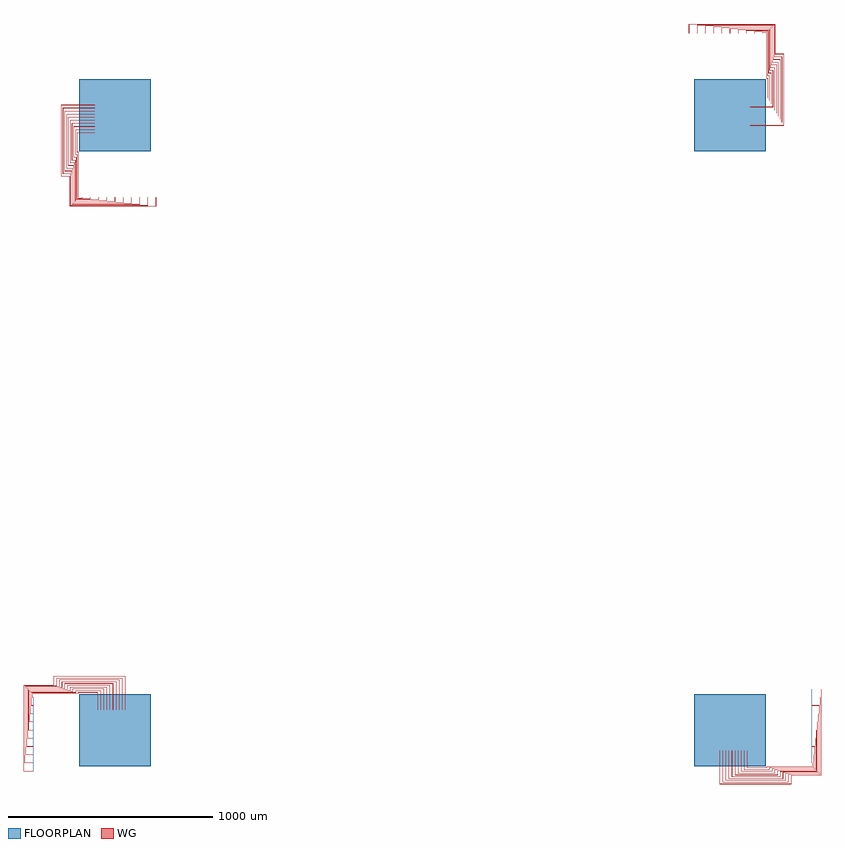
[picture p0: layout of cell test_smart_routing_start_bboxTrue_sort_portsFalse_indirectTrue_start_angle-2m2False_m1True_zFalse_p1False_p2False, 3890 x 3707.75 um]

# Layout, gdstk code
import gdstk
lib = gdstk.Library(unit=1e-6, precision=1e-09)
def R(c, l, rs):  # rectangles x0, y0, x1, y1
    for r in rs: c.add(gdstk.rectangle(r[:2], r[2:], *l))
def P(c, l, *ps):  # polygons
    for p in ps: c.add(gdstk.Polygon(p, *l))
WG = (1, 0)
FLOORPLAN = (10, 0)

test_smart_routing_start = lib.new_cell('test_smart_routing_start_bboxTrue_sort_portsFalse_indirectTrue_start_angle-2m2False_m1True_zFalse_p1False_p2False')
P(test_smart_routing_start, WG, [(-445,-200.25),(-445,220),(-298.75,220),(-298.75,262.75),(50.25,262.75),(50.25,100),(49.75,100),(49.75,262.25),(-298.25,262.25),(-298.25,219.5),(-444.5,219.5),(-444.5,-199.75),(-400,-199.75),(-400,-200.25)],
  [(-440.5,-160.25),(-440.5,215.5),(-285.5,215.5),(-285.5,254),(35.25,254),(35.25,100),(34.75,100),(34.75,253.5),(-285,253.5),(-285,215),(-440,215),(-440,-159.75),(-400,-159.75),(-400,-160.25)],
  [(-436,-120.25),(-436,211),(-272.25,211),(-272.25,245.25),(20.25,245.25),(20.25,100),(19.75,100),(19.75,244.75),(-271.75,244.75),(-271.75,210.5),(-435.5,210.5),(-435.5,-119.75),(-400,-119.75),(-400,-120.25)],
  [(-431.5,-80.25),(-431.5,206.5),(-259,206.5),(-259,236.5),(5.25,236.5),(5.25,100),(4.75,100),(4.75,236),(-258.5,236),(-258.5,206),(-431,206),(-431,-79.75),(-400,-79.75),(-400,-80.25)],
  [(-427,-40.25),(-427,202),(-245.75,202),(-245.75,227.75),(-9.75,227.75),(-9.75,100),(-10.25,100),(-10.25,227.25),(-245.25,227.25),(-245.25,201.5),(-426.5,201.5),(-426.5,-39.75),(-400,-39.75),(-400,-40.25)],
  [(-422.5,-0.25),(-422.5,197.5),(-232.5,197.5),(-232.5,219),(-24.75,219),(-24.75,100),(-25.25,100),(-25.25,218.5),(-232,218.5),(-232,197),(-422,197),(-422,0.25),(-400,0.25),(-400,-0.25)],
  [(-418,39.75),(-418,193),(-219.25,193),(-219.25,210.25),(-39.75,210.25),(-39.75,100),(-40.25,100),(-40.25,209.75),(-218.75,209.75),(-218.75,192.5),(-417.5,192.5),(-417.5,40.25),(-400,40.25),(-400,39.75)],
  [(-413.5,79.75),(-413.5,188.5),(-206,188.5),(-206,201.5),(-54.75,201.5),(-54.75,100),(-55.25,100),(-55.25,201),(-205.5,201),(-205.5,188),(-413,188),(-413,80.25),(-400,80.25),(-400,79.75)],
  [(-70.25,100),(-70.25,192.25),(-192.25,192.25),(-192.25,183.5),(-408.5,183.5),(-408.5,120.25),(-400,120.25),(-400,119.75),(-409,119.75),(-409,184),(-192.75,184),(-192.75,192.75),(-69.75,192.75),(-69.75,100)],
  [(-85.25,100),(-85.25,183.5),(-179,183.5),(-179,179),(-404,179),(-404,160.25),(-400,160.25),(-400,159.75),(-404.5,159.75),(-404.5,179.5),(-179.5,179.5),(-179.5,184),(-84.75,184),(-84.75,100)],
  [(-220,2555),(-220,2701.25),(-262.75,2701.25),(-262.75,3050.25),(-100,3050.25),(-100,3049.75),(-262.25,3049.75),(-262.25,2701.75),(-219.5,2701.75),(-219.5,2555.5),(199.75,2555.5),(199.75,2600),(200.25,2600),(200.25,2555)],
  [(-215.5,2559.5),(-215.5,2714.5),(-254,2714.5),(-254,3035.25),(-100,3035.25),(-100,3034.75),(-253.5,3034.75),(-253.5,2715),(-215,2715),(-215,2560),(159.75,2560),(159.75,2600),(160.25,2600),(160.25,2559.5)],
  [(-211,2564),(-211,2727.75),(-245.25,2727.75),(-245.25,3020.25),(-100,3020.25),(-100,3019.75),(-244.75,3019.75),(-244.75,2728.25),(-210.5,2728.25),(-210.5,2564.5),(119.75,2564.5),(119.75,2600),(120.25,2600),(120.25,2564)],
  [(-206.5,2568.5),(-206.5,2741),(-236.5,2741),(-236.5,3005.25),(-100,3005.25),(-100,3004.75),(-236,3004.75),(-236,2741.5),(-206,2741.5),(-206,2569),(79.75,2569),(79.75,2600),(80.25,2600),(80.25,2568.5)],
  [(-202,2573),(-202,2754.25),(-227.75,2754.25),(-227.75,2990.25),(-100,2990.25),(-100,2989.75),(-227.25,2989.75),(-227.25,2754.75),(-201.5,2754.75),(-201.5,2573.5),(39.75,2573.5),(39.75,2600),(40.25,2600),(40.25,2573)],
  [(-197.5,2577.5),(-197.5,2767.5),(-219,2767.5),(-219,2975.25),(-100,2975.25),(-100,2974.75),(-218.5,2974.75),(-218.5,2768),(-197,2768),(-197,2578),(-0.25,2578),(-0.25,2600),(0.25,2600),(0.25,2577.5)],
  [(-193,2582),(-193,2780.75),(-210.25,2780.75),(-210.25,2960.25),(-100,2960.25),(-100,2959.75),(-209.75,2959.75),(-209.75,2781.25),(-192.5,2781.25),(-192.5,2582.5),(-40.25,2582.5),(-40.25,2600),(-39.75,2600),(-39.75,2582)],
  [(-188.5,2586.5),(-188.5,2794),(-201.5,2794),(-201.5,2945.25),(-100,2945.25),(-100,2944.75),(-201,2944.75),(-201,2794.5),(-188,2794.5),(-188,2587),(-80.25,2587),(-80.25,2600),(-79.75,2600),(-79.75,2586.5)],
  [(-184,2591),(-184,2807.25),(-192.75,2807.25),(-192.75,2930.25),(-100,2930.25),(-100,2929.75),(-192.25,2929.75),(-192.25,2807.75),(-183.5,2807.75),(-183.5,2591.5),(-120.25,2591.5),(-120.25,2600),(-119.75,2600),(-119.75,2591)],
  [(-179.5,2595.5),(-179.5,2820.5),(-184,2820.5),(-184,2915.25),(-100,2915.25),(-100,2914.75),(-183.5,2914.75),(-183.5,2821),(-179,2821),(-179,2596),(-160.25,2596),(-160.25,2600),(-159.75,2600),(-159.75,2595.5)],
  [(2949.75,-262.75),(2949.75,-100),(2950.25,-100),(2950.25,-262.25),(3298.25,-262.25),(3298.25,-219.5),(3444.5,-219.5),(3444.5,199.75),(3400,199.75),(3400,200.25),(3445,200.25),(3445,-220),(3298.75,-220),(3298.75,-262.75)],
  [(2964.75,-254),(2964.75,-100),(2965.25,-100),(2965.25,-253.5),(3285,-253.5),(3285,-215),(3440,-215),(3440,159.75),(3400,159.75),(3400,160.25),(3440.5,160.25),(3440.5,-215.5),(3285.5,-215.5),(3285.5,-254)],
  [(2979.75,-245.25),(2979.75,-100),(2980.25,-100),(2980.25,-244.75),(3271.75,-244.75),(3271.75,-210.5),(3435.5,-210.5),(3435.5,119.75),(3400,119.75),(3400,120.25),(3436,120.25),(3436,-211),(3272.25,-211),(3272.25,-245.25)],
  [(2994.75,-236.5),(2994.75,-100),(2995.25,-100),(2995.25,-236),(3258.5,-236),(3258.5,-206),(3431,-206),(3431,79.75),(3400,79.75),(3400,80.25),(3431.5,80.25),(3431.5,-206.5),(3259,-206.5),(3259,-236.5)],
  [(3009.75,-227.75),(3009.75,-100),(3010.25,-100),(3010.25,-227.25),(3245.25,-227.25),(3245.25,-201.5),(3426.5,-201.5),(3426.5,39.75),(3400,39.75),(3400,40.25),(3427,40.25),(3427,-202),(3245.75,-202),(3245.75,-227.75)],
  [(3024.75,-219),(3024.75,-100),(3025.25,-100),(3025.25,-218.5),(3232,-218.5),(3232,-197),(3422,-197),(3422,-0.25),(3400,-0.25),(3400,0.25),(3422.5,0.25),(3422.5,-197.5),(3232.5,-197.5),(3232.5,-219)],
  [(3039.75,-210.25),(3039.75,-100),(3040.25,-100),(3040.25,-209.75),(3218.75,-209.75),(3218.75,-192.5),(3417.5,-192.5),(3417.5,-40.25),(3400,-40.25),(3400,-39.75),(3418,-39.75),(3418,-193),(3219.25,-193),(3219.25,-210.25)],
  [(3054.75,-201.5),(3054.75,-100),(3055.25,-100),(3055.25,-201),(3205.5,-201),(3205.5,-188),(3413,-188),(3413,-80.25),(3400,-80.25),(3400,-79.75),(3413.5,-79.75),(3413.5,-188.5),(3206,-188.5),(3206,-201.5)],
  [(3069.75,-192.75),(3069.75,-100),(3070.25,-100),(3070.25,-192.25),(3192.25,-192.25),(3192.25,-183.5),(3408.5,-183.5),(3408.5,-120.25),(3400,-120.25),(3400,-119.75),(3409,-119.75),(3409,-184),(3192.75,-184),(3192.75,-192.75)],
  [(3084.75,-184),(3084.75,-100),(3085.25,-100),(3085.25,-183.5),(3179,-183.5),(3179,-179),(3404,-179),(3404,-160.25),(3400,-160.25),(3400,-159.75),(3404.5,-159.75),(3404.5,-179.5),(3179.5,-179.5),(3179.5,-184)],
  [(3100,2949.75),(3100,2950.25),(3262.25,2950.25),(3262.25,3298.25),(3219.5,3298.25),(3219.5,3444.5),(2800.25,3444.5),(2800.25,3400),(2799.75,3400),(2799.75,3445),(3220,3445),(3220,3298.75),(3262.75,3298.75),(3262.75,2949.75)],
  [(3100,2964.75),(3100,2965.25),(3253.5,2965.25),(3253.5,3285),(3215,3285),(3215,3440),(2840.25,3440),(2840.25,3400),(2839.75,3400),(2839.75,3440.5),(3215.5,3440.5),(3215.5,3285.5),(3254,3285.5),(3254,2964.75)],
  [(3100,2979.75),(3100,2980.25),(3244.75,2980.25),(3244.75,3271.75),(3210.5,3271.75),(3210.5,3435.5),(2880.25,3435.5),(2880.25,3400),(2879.75,3400),(2879.75,3436),(3211,3436),(3211,3272.25),(3245.25,3272.25),(3245.25,2979.75)],
  [(3100,2994.75),(3100,2995.25),(3236,2995.25),(3236,3258.5),(3206,3258.5),(3206,3431),(2920.25,3431),(2920.25,3400),(2919.75,3400),(2919.75,3431.5),(3206.5,3431.5),(3206.5,3259),(3236.5,3259),(3236.5,2994.75)],
  [(3100,3009.75),(3100,3010.25),(3227.25,3010.25),(3227.25,3245.25),(3201.5,3245.25),(3201.5,3426.5),(2960.25,3426.5),(2960.25,3400),(2959.75,3400),(2959.75,3427),(3202,3427),(3202,3245.75),(3227.75,3245.75),(3227.75,3009.75)],
  [(3100,3024.75),(3100,3025.25),(3218.5,3025.25),(3218.5,3232),(3197,3232),(3197,3422),(3000.25,3422),(3000.25,3400),(2999.75,3400),(2999.75,3422.5),(3197.5,3422.5),(3197.5,3232.5),(3219,3232.5),(3219,3024.75)],
  [(3100,3039.75),(3100,3040.25),(3209.75,3040.25),(3209.75,3218.75),(3192.5,3218.75),(3192.5,3417.5),(3040.25,3417.5),(3040.25,3400),(3039.75,3400),(3039.75,3418),(3193,3418),(3193,3219.25),(3210.25,3219.25),(3210.25,3039.75)],
  [(3100,3054.75),(3100,3055.25),(3201,3055.25),(3201,3205.5),(3188,3205.5),(3188,3413),(3080.25,3413),(3080.25,3400),(3079.75,3400),(3079.75,3413.5),(3188.5,3413.5),(3188.5,3206),(3201.5,3206),(3201.5,3054.75)],
  [(3100,3069.75),(3100,3070.25),(3192.25,3070.25),(3192.25,3192.25),(3183.5,3192.25),(3183.5,3408.5),(3120.25,3408.5),(3120.25,3400),(3119.75,3400),(3119.75,3409),(3184,3409),(3184,3192.75),(3192.75,3192.75),(3192.75,3069.75)],
  [(3100,3084.75),(3100,3085.25),(3183.5,3085.25),(3183.5,3179),(3179,3179),(3179,3404),(3160.25,3404),(3160.25,3400),(3159.75,3400),(3159.75,3404.5),(3179.5,3404.5),(3179.5,3179.5),(3184,3179.5),(3184,3084.75)])
R(test_smart_routing_start, FLOORPLAN, [(-175,-175,175,175), (2825,-175,3175,175), (-175,2825,175,3175), (2825,2825,3175,3175)])
P(test_smart_routing_start, FLOORPLAN, [(-400,-200),(-400,160),(-400,160),(-400,-200)],
  [(-160,2600),(-160,2600),(200,2600),(200,2600)],
  [(3400,-160),(3400,200),(3400,200),(3400,-160)],
  [(2800,3400),(2800,3400),(3160,3400),(3160,3400)])

lib.write_gds('test_smart_routing_start_bboxTrue_sort_portsFalse_indirectTrue_start_angle-2m2False_m1True_zFalse_p1False_p2False.gds')
